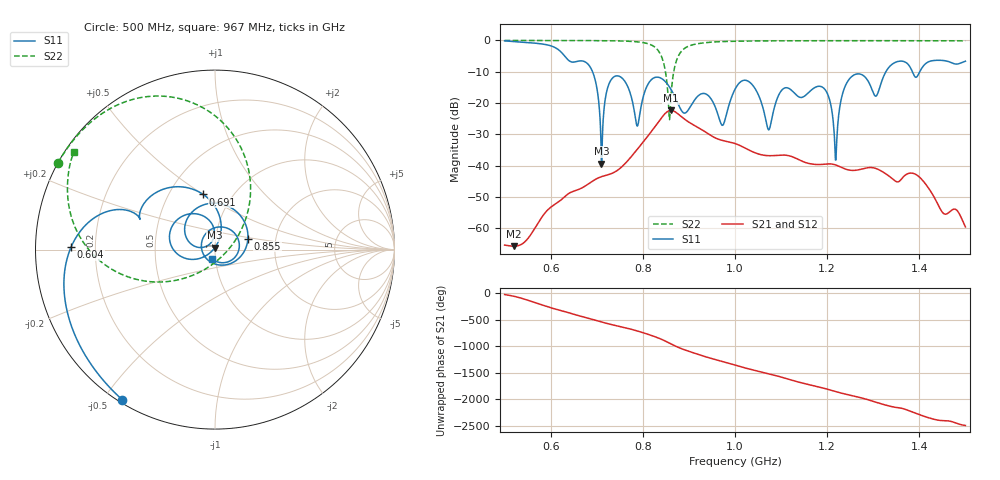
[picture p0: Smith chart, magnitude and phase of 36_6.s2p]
! TOUCHSTONE file generated by CST MICROWAVE STUDIO
! Date and time: Tue Nov 24 13:46:21 2020
! Project name: Scenario_1_Planar_Body_Tissue_Out_of_Line.cst
! Parameters = {dy1=259.5; L_HA=400; Ltissue=700; MT=2.54; Rad_Dielectric=30; Rad_Lower=7.3; Rad_Upper=30; Wtissue=700; a_HA=580; a_WG=246; b_HA=500; b_WG=121; c_HA=0; c_WG=187; d_feed=85; dx1=1039; h_feed=15; h_lower=18; h_upper=40; hfat=3; hgap=25; hmuscle=50; hskin=1.5}
! Header version: 2018
! Port assignment regex: !\s*Touchstone port\s*([0-9]+)\s*=\s*(CST MWS port|CST DS port)\s*([0-9]+|Zmin|Zmax)\s*\(\"(.*)\"\)(\s*mode\s*([0-9]+))?.*
! Touchstone port assignment:
! Touchstone port 1 = CST MWS port 1 ("")
! Touchstone port 2 = CST MWS port 2 ("")
# GHz S DB R 50
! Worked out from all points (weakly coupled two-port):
!   1003 points, 500 MHz to 1.5 GHz, reference 50 ohm
!   highest |S21| = -22.37 dB at 861 MHz (marker M1); lowest = -65.8 dB at 520 MHz (marker M2)
!   lowest |S11| = -39.3 dB at 710 MHz (marker M3), VSWR 1.02, Z = 49.9 + j1.07 ohm
!   |S11| at or under -10 dB: 690.8 MHz to 1.327 GHz (636.6 MHz wide, 63.1 % of centre); 1.385 GHz to 1.401 GHz (16.07 MHz wide, 1.15 % of centre)
!   |S22| runs from -25.3 to 0.0 dB; largest |S21 - S12| = 5e-05
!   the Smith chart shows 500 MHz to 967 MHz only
!   S11 on the Smith chart (normalised r, x): 500 MHz: 0.01, -0.56; 604 MHz: 0.11, +0.01; 691 MHz: 0.73, +0.50; 855 MHz: 1.44, +0.18; 967 MHz: 0.96, -0.10
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0.5  -0.15 -121.7  -65.41 -26.5  -65.41 -26.5  -0.01 151.2
0.52  -0.36 -129.8  -65.76 -58.5  -65.77 -58.6  -0.01 149.8
0.604  -1.92 179.0  -52.90 75.3  -52.90 75.3  -0.02 143.8
0.667  -6.53 146.1  -47.20 -77.3  -47.20 -77.3  -0.04 138.4
0.691  -10.06 102.1  -44.96 -133.6  -44.96 -133.6  -0.06 135.9
0.71  -39.34 95.2  -43.55 178.2  -43.55 178.2  -0.08 133.6
0.735  -11.90 170.3  -42.35 122.5  -42.35 122.5  -0.12 130.1
0.788  -27.37 133.0  -34.79 8.5  -34.79 8.5  -0.45 117.6
0.834  -11.78 84.3  -26.01 -125.1  -26.01 -125.1  -3.38 83.7
0.855  -14.27 18.5  -22.60 151.5  -22.60 151.5  -18.48 22.9
0.861  -15.64 -2.0  -22.37 124.9  -22.37 124.9  -18.12 -117.4
0.885  -22.67 -109.3  -24.52 31.9  -24.52 31.9  -3.25 -178.5
0.967  -25.58 -109.5  -31.73 168.5  -31.73 168.5  -0.40 145.4
1  -15.61 58.9  -32.95 87.7  -32.95 87.7  -0.27 140.2
1.073  -28.60 146.2  -36.84 -76.3  -36.84 -76.3  -0.14 132.2
1.104  -15.54 -22.2  -36.64 -147.8  -36.64 -147.8  -0.12 129.4
1.167  -15.69 81.6  -39.51 66.3  -39.51 66.3  -0.10 124.2
1.199  -16.54 -2.3  -39.49 -2.7  -39.49 -2.7  -0.09 121.7
1.219  -38.25 54.0  -39.82 -52.8  -39.82 -52.8  -0.09 120.2
1.247  -12.54 55.4  -41.42 -114.0  -41.42 -114.0  -0.09 118.1
1.334  -8.59 26.2  -43.33 38.4  -43.33 38.4  -0.09 111.5
1.5  -6.64 -42.1  -59.60 31.3  -59.59 31.3  -0.13 98.0
